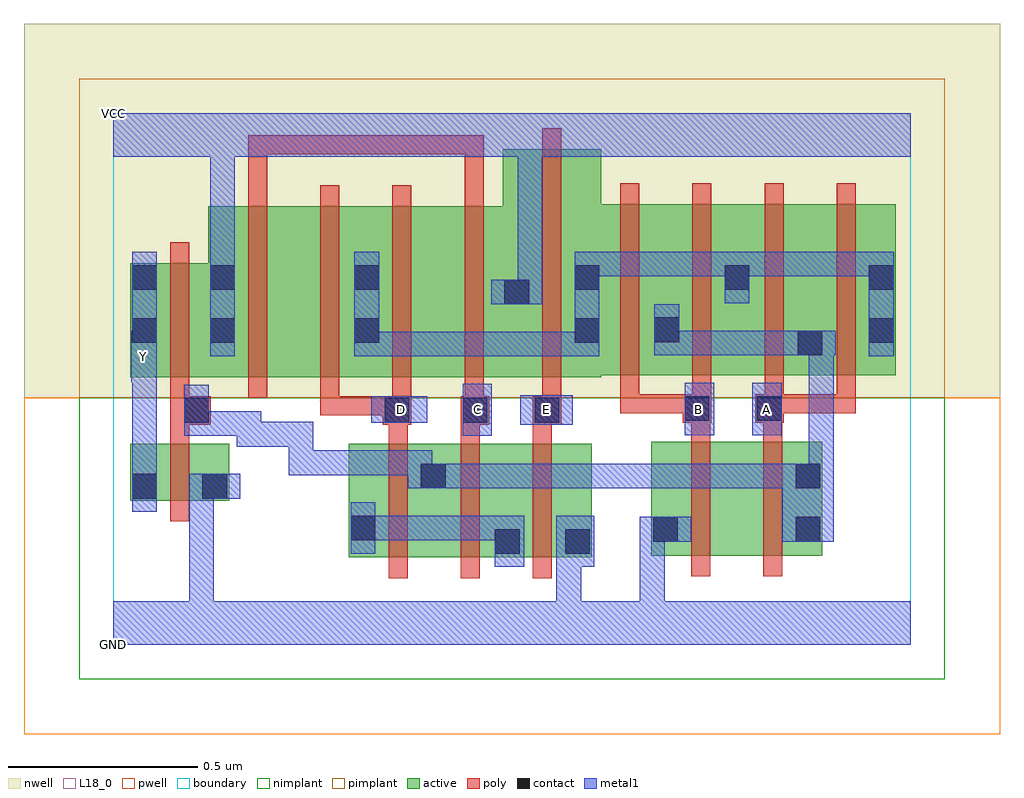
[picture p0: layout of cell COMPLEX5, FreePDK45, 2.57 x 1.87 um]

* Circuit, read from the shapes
.subckt COMPLEX5 A B C D E GND VCC Y
M1 GND n1 Y VSUBS nfet w=0.15u l=0.05u
M2 n1 D n2 VSUBS nfet w=0.3u l=0.05u
M3 n2 C n1 VSUBS nfet w=0.3u l=0.05u
M4 GND E n2 VSUBS nfet w=0.3u l=0.05u
M5 n3 B GND VSUBS nfet w=0.3u l=0.05u
M6 n1 A n3 VSUBS nfet w=0.3u l=0.05u
M7 VCC n1 Y n4 pfet w=0.3u l=0.05u
M8 n5 C VCC n4 pfet w=0.45u l=0.05u
M9 n6 D n5 n4 pfet w=0.45u l=0.05u
M10 n7 D n6 n4 pfet w=0.45u l=0.05u
M11 VCC C n7 n4 pfet w=0.45u l=0.05u
M12 n6 E VCC n4 pfet w=0.6u l=0.05u
M13 n1 B n6 n4 pfet w=0.45u l=0.05u m=2
M14 n1 A n6 n4 pfet w=0.45u l=0.05u m=2
.ends

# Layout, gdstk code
import gdstk
lib = gdstk.Library(unit=1e-6, precision=1e-09)
def R(c, l, rs):  # rectangles x0, y0, x1, y1
    for r in rs: c.add(gdstk.rectangle(r[:2], r[2:], *l))
def A(c, l, x, y, w, h, nx, ny, dx, dy):  # array of equal rectangles
    R(c, l, [(x+i*dx, y+j*dy, x+i*dx+w, y+j*dy+h) for i in range(nx) for j in range(ny)])
active = (1, 0)
pwell = (2, 0)
nwell = (3, 0)
nimplant = (4, 0)
pimplant = (5, 0)
poly = (9, 0)
contact = (10, 0)
metal1 = (11, 0)
L18_0 = (18, 0)
boundary = (235, 0)

complex5 = lib.new_cell('COMPLEX5')
R(complex5, active, [(0.62,0.23,0.88,0.53), (0.805,0.23,1.075,0.53), (1,0.23,1.26,0.53), (1,0.23,1.075,0.392), (1.185,0.23,1.26,0.53), (1.417,0.235,1.642,0.535), (1.417,0.235,1.492,0.535), (1.642,0.235,1.867,0.535), (0.62,0.257,0.695,0.53), (1.792,0.267,1.867,0.535), (0.805,0.295,0.88,0.482), (0.045,0.38,0.12,0.53), (0.045,0.38,0.305,0.53), (0.23,0.38,0.305,0.53), (0.045,0.705,0.12,1.005), (0.045,0.705,0.325,1.005), (0.25,0.705,0.325,1.005), (0.25,0.705,0.475,1.155), (0.475,0.705,0.705,1.155), (0.63,0.705,0.855,1.155), (0.63,0.705,0.705,1.155), (0.855,0.705,1.1,1.155), (1.025,0.705,1.285,1.305), (1.21,0.71,1.495,1.16), (1.21,0.71,1.285,1.2), (1.42,0.71,1.495,1.07), (1.42,0.71,1.68,1.16), (1.605,0.71,1.68,1.155), (1.605,0.71,1.872,1.16), (1.797,0.71,2.06,1.16), (1.797,0.71,1.872,1.07), (1.985,0.71,2.06,1.155), (1.025,0.812,1.1,1.197)])
R(complex5, pwell, [(-0.235,-0.235,2.335,0.65)])
R(complex5, nwell, [(-0.235,0.65,2.335,1.635)])
R(complex5, nimplant, [(-0.09,-0.09,2.19,0.65)])
R(complex5, pimplant, [(-0.09,0.65,2.19,1.49)])
A(complex5, poly, 0.725, 0.175, 0.05, 0.41, 3, 1, 0.19, 0)
A(complex5, poly, 0.725, 0.535, 0.05, 0.095, 3, 1, 0.19, 0)
A(complex5, poly, 0.545, 0.605, 0.05, 0.095, 3, 1, 0.19, 0)
A(complex5, poly, 1.335, 0.61, 0.05, 0.095, 4, 1, 0.19, 0)
A(complex5, poly, 0.355, 0.65, 0.05, 0.56, 4, 1, 0.19, 0)
A(complex5, poly, 1.335, 0.655, 0.05, 0.56, 4, 1, 0.19, 0)
R(complex5, poly, [(1.522,0.18,1.572,0.59), (1.712,0.18,1.762,0.59), (0.15,0.325,0.2,0.585), (0.15,0.535,0.2,0.63), (1.522,0.54,1.572,0.635), (1.712,0.54,1.762,0.635), (0.15,0.58,0.257,0.655), (0.71,0.58,0.785,0.655), (0.915,0.58,0.99,0.655), (1.105,0.58,1.18,0.655), (1.5,0.585,1.575,0.66), (1.69,0.585,1.765,0.66), (0.15,0.605,0.2,0.7), (0.545,0.605,0.595,0.655), (0.545,0.605,0.76,0.655), (0.71,0.605,0.76,0.655), (0.71,0.605,0.76,0.655), (1.13,0.605,1.18,0.7), (1.335,0.61,1.385,0.66), (1.335,0.61,1.55,0.66), (1.5,0.61,1.55,0.66), (1.5,0.61,1.55,0.66), (1.715,0.61,1.955,0.66), (1.715,0.61,1.765,0.66), (1.715,0.61,1.765,0.66), (1.905,0.61,1.955,0.66), (0.15,0.65,0.2,1.06), (1.13,0.65,1.18,1.36), (0.355,1.16,0.405,1.342), (0.925,1.16,0.975,1.342), (0.355,1.292,0.405,1.342), (0.355,1.292,0.537,1.342), (0.487,1.292,0.537,1.342), (0.487,1.292,0.537,1.342), (0.487,1.292,0.537,1.342), (0.487,1.292,0.832,1.342), (0.782,1.292,0.832,1.342), (0.782,1.292,0.832,1.342), (0.782,1.292,0.832,1.342), (0.782,1.292,0.975,1.342), (0.925,1.292,0.975,1.342), (0.925,1.292,0.975,1.342), (0.925,1.292,0.975,1.342)])
R(complex5, contact, [(1.005,0.24,1.07,0.305), (1.19,0.24,1.255,0.305), (1.422,0.272,1.487,0.337), (1.797,0.272,1.862,0.337), (0.625,0.275,0.69,0.34), (0.05,0.385,0.115,0.45), (0.235,0.385,0.3,0.45), (0.81,0.412,0.875,0.477), (1.797,0.412,1.862,0.477), (0.187,0.585,0.252,0.65), (0.715,0.585,0.78,0.65), (0.92,0.585,0.985,0.65), (1.11,0.585,1.175,0.65), (1.505,0.59,1.57,0.655), (1.695,0.59,1.76,0.655), (1.802,0.762,1.867,0.827), (0.05,0.795,0.115,0.86), (0.255,0.795,0.32,0.86), (0.635,0.795,0.7,0.86), (1.215,0.795,1.28,0.86), (1.99,0.795,2.055,0.86), (1.425,0.797,1.49,0.862), (1.03,0.897,1.095,0.962), (0.05,0.935,0.115,1), (0.255,0.935,0.32,1), (0.635,0.935,0.7,1), (1.215,0.935,1.28,1), (1.61,0.935,1.675,1), (1.99,0.935,2.055,1)])
R(complex5, metal1, [(0,0,2.1,0.115), (0.2,0.05,0.265,0.115), (0.2,0.05,0.265,0.115), (0.2,0.05,0.265,0.115), (0.2,0.05,0.265,0.115), (0.2,0.05,0.265,0.115), (0.2,0.05,0.265,0.115), (0.2,0.05,0.265,0.45), (1.167,0.05,1.232,0.115), (1.167,0.05,1.232,0.115), (1.167,0.05,1.232,0.115), (1.167,0.05,1.232,0.115), (1.167,0.05,1.232,0.27), (1.387,0.05,1.452,0.115), (1.387,0.05,1.452,0.115), (1.387,0.05,1.452,0.337), (1.005,0.205,1.082,0.34), (1.167,0.205,1.267,0.34), (0.625,0.24,0.69,0.375), (1.387,0.272,1.452,0.337), (1.387,0.272,1.452,0.337), (1.387,0.272,1.522,0.337), (1.762,0.272,1.897,0.477), (0.625,0.275,0.745,0.34), (0.68,0.275,0.745,0.34), (0.68,0.275,0.91,0.34), (0.845,0.275,0.91,0.34), (0.845,0.275,0.977,0.34), (0.912,0.275,0.977,0.34), (0.912,0.275,1.07,0.34), (0.05,0.35,0.115,0.485), (0.2,0.385,0.335,0.45), (0.775,0.412,0.84,0.477), (0.775,0.412,0.91,0.477), (0.775,0.412,0.84,0.512), (0.845,0.412,0.977,0.477), (0.912,0.412,0.977,0.477), (0.912,0.412,1.047,0.477), (0.982,0.412,1.047,0.477), (0.982,0.412,1.232,0.477), (1.167,0.412,1.232,0.477), (1.167,0.412,1.232,0.477), (1.167,0.412,1.232,0.477), (1.167,0.412,1.417,0.477), (1.352,0.412,1.417,0.477), (1.352,0.412,1.417,0.477), (1.352,0.412,1.417,0.477), (1.352,0.412,1.555,0.477), (1.49,0.412,1.555,0.477), (1.49,0.412,1.627,0.477), (1.562,0.412,1.627,0.477), (1.562,0.412,1.827,0.477), (1.762,0.412,1.827,0.477), (1.762,0.412,1.827,0.477), (1.832,0.412,1.897,0.687), (0.05,0.42,0.115,0.757), (0.462,0.447,0.607,0.512), (0.462,0.447,0.527,0.587), (0.542,0.447,0.607,0.512), (0.542,0.447,0.665,0.512), (0.6,0.447,0.665,0.512), (0.6,0.447,0.84,0.512), (0.325,0.522,0.39,0.587), (0.325,0.522,0.39,0.587), (0.325,0.522,0.39,0.587), (0.325,0.522,0.39,0.587), (0.325,0.522,0.527,0.587), (0.325,0.522,0.39,0.615), (0.187,0.55,0.39,0.615), (0.187,0.55,0.252,0.685), (0.92,0.55,0.997,0.687), (1.505,0.552,1.582,0.69), (1.682,0.552,1.76,0.69), (1.072,0.58,1.21,0.657), (0.68,0.585,0.827,0.655), (1.832,0.622,1.897,0.687), (1.832,0.622,1.897,0.827), (0.047,0.692,0.115,0.827), (0.05,0.76,0.115,0.825), (0.05,0.76,0.115,1.035), (0.255,0.76,0.32,1.035), (0.635,0.76,0.7,1.035), (0.635,0.76,0.84,0.825), (0.775,0.76,0.84,0.825), (0.775,0.76,0.84,0.825), (0.775,0.76,0.84,0.825), (0.775,0.76,0.977,0.825), (0.912,0.76,0.977,0.825), (0.912,0.76,1.095,0.825), (1.03,0.76,1.095,0.825), (1.03,0.76,1.28,0.825), (1.215,0.76,1.28,0.825), (1.215,0.76,1.28,0.825), (1.215,0.76,1.28,1.035), (1.99,0.76,2.055,1.035), (1.425,0.762,1.555,0.827), (1.425,0.762,1.49,0.897), (1.49,0.762,1.555,0.827), (1.49,0.762,1.69,0.827), (1.625,0.762,1.69,0.827), (1.625,0.762,1.832,0.827), (1.767,0.762,1.832,0.827), (1.767,0.762,1.832,0.827), (1.767,0.762,1.902,0.827), (0.995,0.897,1.13,0.962), (1.065,0.897,1.13,1.35), (1.61,0.9,1.675,1.035), (0.255,0.97,0.32,1.35), (1.215,0.97,1.28,1.035), (1.215,0.97,1.28,1.035), (1.215,0.97,1.417,1.035), (1.352,0.97,1.417,1.035), (1.352,0.97,1.417,1.035), (1.352,0.97,1.417,1.035), (1.352,0.97,1.61,1.035), (1.545,0.97,1.61,1.035), (1.545,0.97,1.675,1.035), (1.61,0.97,1.917,1.035), (1.852,0.97,1.917,1.035), (1.852,0.97,1.917,1.035), (1.852,0.97,1.917,1.035), (1.852,0.97,2.055,1.035), (1.99,0.97,2.055,1.035), (1.99,0.97,2.055,1.035), (0,1.285,2.1,1.4), (0.255,1.285,0.32,1.35), (0.255,1.285,0.32,1.35)])
R(complex5, L18_0, [(0,0,2.1,0.115), (0.2,0.05,0.265,0.115), (0.2,0.05,0.265,0.115), (0.2,0.05,0.265,0.115), (0.2,0.05,0.265,0.115), (0.2,0.05,0.265,0.115), (0.2,0.05,0.265,0.115), (0.2,0.05,0.265,0.45), (1.167,0.05,1.232,0.115), (1.167,0.05,1.232,0.115), (1.167,0.05,1.232,0.115), (1.167,0.05,1.232,0.115), (1.167,0.05,1.232,0.27), (1.387,0.05,1.452,0.115), (1.387,0.05,1.452,0.115), (1.387,0.05,1.452,0.337), (1.167,0.205,1.267,0.34), (1.387,0.272,1.452,0.337), (1.387,0.272,1.452,0.337), (1.387,0.272,1.522,0.337), (0.05,0.35,0.115,0.485), (0.2,0.385,0.335,0.45), (0.05,0.42,0.115,0.757), (0.92,0.55,0.997,0.687), (1.505,0.552,1.582,0.69), (1.682,0.552,1.76,0.69), (1.072,0.58,1.21,0.657), (0.68,0.585,0.827,0.655), (0.727,0.587,0.792,0.652), (0.927,0.587,0.992,0.652), (1.107,0.587,1.172,0.652), (1.507,0.587,1.572,0.652), (1.687,0.587,1.752,0.652), (0.047,0.692,0.115,0.827), (0.047,0.727,0.112,0.792), (0.05,0.76,0.115,1.035), (0.05,0.76,0.115,0.825), (0.255,0.76,0.32,1.035), (0.995,0.897,1.13,0.962), (1.065,0.897,1.13,1.35), (0.255,0.97,0.32,1.35), (0,1.285,2.1,1.4), (0.255,1.285,0.32,1.35), (0.255,1.285,0.32,1.35)])
R(complex5, boundary, [(0,0,2.1,1.4)])
complex5.add(gdstk.Label('A', (1.72,0.62), layer=11, texttype=0))
complex5.add(gdstk.Label('B', (1.54,0.62), layer=11, texttype=0))
complex5.add(gdstk.Label('C', (0.96,0.62), layer=11, texttype=0))
complex5.add(gdstk.Label('D', (0.76,0.62), layer=11, texttype=0))
complex5.add(gdstk.Label('E', (1.14,0.62), layer=11, texttype=0))
complex5.add(gdstk.Label('Y', (0.08,0.76), layer=11, texttype=0))
complex5.add(gdstk.Label('VCC', (0,1.4), layer=11, texttype=0))
complex5.add(gdstk.Label('GND', (0,0), layer=11, texttype=0))

lib.write_gds('COMPLEX5.gds')
